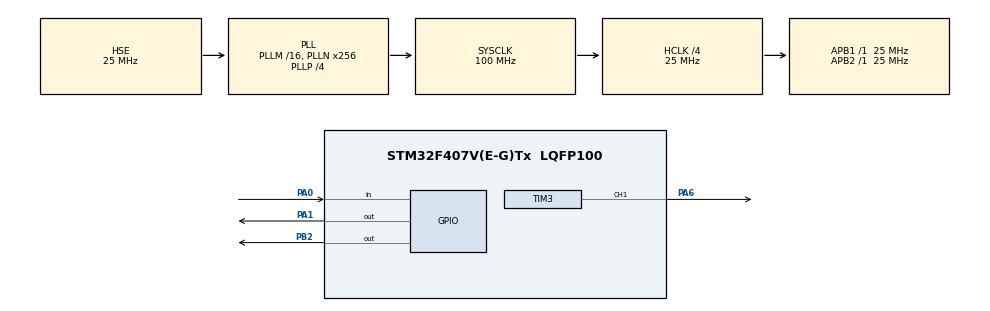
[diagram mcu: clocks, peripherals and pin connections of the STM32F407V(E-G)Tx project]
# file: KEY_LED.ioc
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Mcu.Family=STM32F4
Mcu.Name=STM32F407V(E-G)Tx
Mcu.Package=LQFP100
NVIC.PriorityGroup=NVIC_PRIORITYGROUP_4
NVIC.TIM1_BRK_TIM9_IRQn=true\:0\:0\:false\:false\:true\:true\:true\:true
NVIC.TIM1_CC_IRQn=true\:0\:0\:false\:false\:true\:true\:true\:true
NVIC.TIM1_TRG_COM_TIM11_IRQn=true\:0\:0\:false\:false\:true\:true\:true\:true
NVIC.TIM1_UP_TIM10_IRQn=true\:0\:0\:false\:false\:true\:true\:true\:true
NVIC.TIM3_IRQn=true\:0\:0\:false\:false\:true\:true\:true\:true
PA0-WKUP.Signal=GPIO_Input
PA1.Signal=GPIO_Output
PA13.Mode=Serial_Wire
PA13.Signal=SYS_JTMS-SWDIO
PA14.Mode=Serial_Wire
PA14.Signal=SYS_JTCK-SWCLK
PA6.Signal=S_TIM3_CH1
PB2.Signal=GPIO_Output
PC14-OSC32_IN.Mode=LSE-External-Oscillator
PC14-OSC32_IN.Signal=RCC_OSC32_IN
PC15-OSC32_OUT.Mode=LSE-External-Oscillator
PC15-OSC32_OUT.Signal=RCC_OSC32_OUT
PH0-OSC_IN.Mode=HSE-External-Oscillator
PH0-OSC_IN.Signal=RCC_OSC_IN
PH1-OSC_OUT.Mode=HSE-External-Oscillator
PH1-OSC_OUT.Signal=RCC_OSC_OUT
ProjectManager.HeapSize=0x200
ProjectManager.StackSize=0x400
ProjectManager.TargetToolchain=MDK-ARM V5.32
RCC.48MHZClocksFreq_Value=100000000
RCC.AHBCLKDivider=RCC_SYSCLK_DIV4
RCC.AHBFreq_Value=25000000
RCC.APB1Freq_Value=25000000
RCC.APB1TimFreq_Value=25000000
RCC.APB2Freq_Value=25000000
RCC.APB2TimFreq_Value=25000000
RCC.CortexFreq_Value=25000000
RCC.HCLKFreq_Value=25000000
RCC.HSE_VALUE=25000000
RCC.HSI_VALUE=16000000
RCC.PLLN=256
RCC.PLLP=RCC_PLLP_DIV4
RCC.PLLSourceVirtual=RCC_PLLSOURCE_HSE
RCC.SYSCLKFreq_VALUE=100000000
RCC.SYSCLKSource=RCC_SYSCLKSOURCE_PLLCLK
RCC.VCOOutputFreq_Value=400000000
SH.S_TIM3_CH1.0=TIM3_CH1,PWM Generation1 CH1
TIM1.Period=24999
TIM1.Prescaler=2
TIM3.AutoReloadPreload=TIM_AUTORELOAD_PRELOAD_ENABLE
TIM3.Channel-PWM\ Generation1\ CH1=TIM_CHANNEL_1
TIM3.Period=49999
TIM3.Prescaler=1
VP_TIM1_VS_ClockSourceINT.Mode=Internal
VP_TIM3_VS_ClockSourceINT.Mode=Internal
board=custom

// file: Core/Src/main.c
/* USER CODE BEGIN Header */
/**
  ******************************************************************************
  * @file           : main.c
  * @brief          : Main program body
  ******************************************************************************
  * @attention
  *
  * Copyright (c) 2026 STMicroelectronics.
  * All rights reserved.
  *
  * This software is licensed under terms that can be found in the LICENSE file
  * in the root directory of this software component.
  * If no LICENSE file comes with this software, it is provided AS-IS.
  *
  ******************************************************************************
  */
/* USER CODE END Header */
#include "main.h"
#include "tim.h"
#include "gpio.h"

/* USER CODE BEGIN PV */
int count=0;

int T=6;
int duty=1;

int a=0;
int c=1;

HAL_StatusTypeDef ret=HAL_ERROR;
int i=0;
int mode=0;
/* USER CODE END PV */

void SystemClock_Config(void);

/* USER CODE BEGIN 0 */
void HAL_TIM_PeriodElapsedCallback(TIM_HandleTypeDef*htim){
	if(htim==&htim3){
	if(mode==0){
		__HAL_TIM_SET_COMPARE(&htim3,TIM_CHANNEL_1,1);
	}
	if(mode==1){
		__HAL_TIM_SET_COMPARE(&htim3,TIM_CHANNEL_1,i);
		i+=166*c;
		if(i>=4970||i<=30){
			c=-c;
		}
	}
	if(mode==2){
		__HAL_TIM_SET_COMPARE(&htim3,TIM_CHANNEL_1,i);
		i+=340*c;
		if(i>=4940||i<=60){
			c=-c;
		}
	}}
	/*
	if(htim==&htim1){
	if(a<duty){
		HAL_GPIO_WritePin(GPIOB,GPIO_PIN_2,GPIO_PIN_SET);
		a+=1;
	}
	else{
		HAL_GPIO_WritePin(GPIOB,GPIO_PIN_2,GPIO_PIN_RESET);

		if(a>=T){
			a=0;
			count+=1;
			if(count==2){
				duty+=c;
				if(duty==T||duty==0){
					c=-c;
			}
			count=0;
		}
		}
		a+=1;
	}

}
*/
}
/* USER CODE END 0 */

int main(void)
{

  /* MCU Configuration--------------------------------------------------------*/

  /* Reset of all peripherals, Initializes the Flash interface and the Systick. */
  HAL_Init();

  /* Configure the system clock */
  SystemClock_Config();

  /* Initialize all configured peripherals */
  MX_GPIO_Init();
  MX_TIM1_Init();
  MX_TIM3_Init();
  /* USER CODE BEGIN 2 */
	HAL_TIM_Base_Start_IT(&htim3);
	HAL_TIM_Base_Start_IT(&htim1);
	HAL_GPIO_WritePin(GPIOA,GPIO_PIN_1,GPIO_PIN_RESET);
	HAL_GPIO_WritePin(GPIOB,GPIO_PIN_2,GPIO_PIN_RESET);
	ret=HAL_TIM_PWM_Start(&htim3,TIM_CHANNEL_1);
	HAL_TIM_PWM_Start(&htim3,TIM_CHANNEL_2);

  /* USER CODE END 2 */

  /* Infinite loop */
  while (1)
  {

    /* USER CODE BEGIN 3 */

		if(HAL_GPIO_ReadPin(GPIOA,GPIO_PIN_0)==GPIO_PIN_SET){
			HAL_Delay(30);
			if(HAL_GPIO_ReadPin(GPIOA,GPIO_PIN_0)==GPIO_PIN_SET){
				mode=(mode+1)%3;
				i=0;c=1;
				while(HAL_GPIO_ReadPin(GPIOA,GPIO_PIN_0)==GPIO_PIN_SET){}
				HAL_Delay(30);
			}
		}

}
  /* USER CODE END 3 */
}

void SystemClock_Config(void)
{
  RCC_OscInitTypeDef RCC_OscInitStruct = {0};
  RCC_ClkInitTypeDef RCC_ClkInitStruct = {0};

  /** Configure the main internal regulator output voltage
  */
  __HAL_RCC_PWR_CLK_ENABLE();
  __HAL_PWR_VOLTAGESCALING_CONFIG(PWR_REGULATOR_VOLTAGE_SCALE1);

  /** Initializes the RCC Oscillators according to the specified parameters
  * in the RCC_OscInitTypeDef structure.
  */
  RCC_OscInitStruct.OscillatorType = RCC_OSCILLATORTYPE_HSE;
  RCC_OscInitStruct.HSEState = RCC_HSE_ON;
  RCC_OscInitStruct.PLL.PLLState = RCC_PLL_ON;
  RCC_OscInitStruct.PLL.PLLSource = RCC_PLLSOURCE_HSE;
  RCC_OscInitStruct.PLL.PLLM = 16;
  RCC_OscInitStruct.PLL.PLLN = 256;
  RCC_OscInitStruct.PLL.PLLP = RCC_PLLP_DIV4;
  RCC_OscInitStruct.PLL.PLLQ = 4;
  if (HAL_RCC_OscConfig(&RCC_OscInitStruct) != HAL_OK)
  {
    Error_Handler();
  }

  /** Initializes the CPU, AHB and APB buses clocks
  */
  RCC_ClkInitStruct.ClockType = RCC_CLOCKTYPE_HCLK|RCC_CLOCKTYPE_SYSCLK
                              |RCC_CLOCKTYPE_PCLK1|RCC_CLOCKTYPE_PCLK2;
  RCC_ClkInitStruct.SYSCLKSource = RCC_SYSCLKSOURCE_PLLCLK;
  RCC_ClkInitStruct.AHBCLKDivider = RCC_SYSCLK_DIV4;
  RCC_ClkInitStruct.APB1CLKDivider = RCC_HCLK_DIV1;
  RCC_ClkInitStruct.APB2CLKDivider = RCC_HCLK_DIV1;

  if (HAL_RCC_ClockConfig(&RCC_ClkInitStruct, FLASH_LATENCY_0) != HAL_OK)
  {
    Error_Handler();
  }
}

void Error_Handler(void)
{
  __disable_irq();
  while (1)
  {
  }
}
